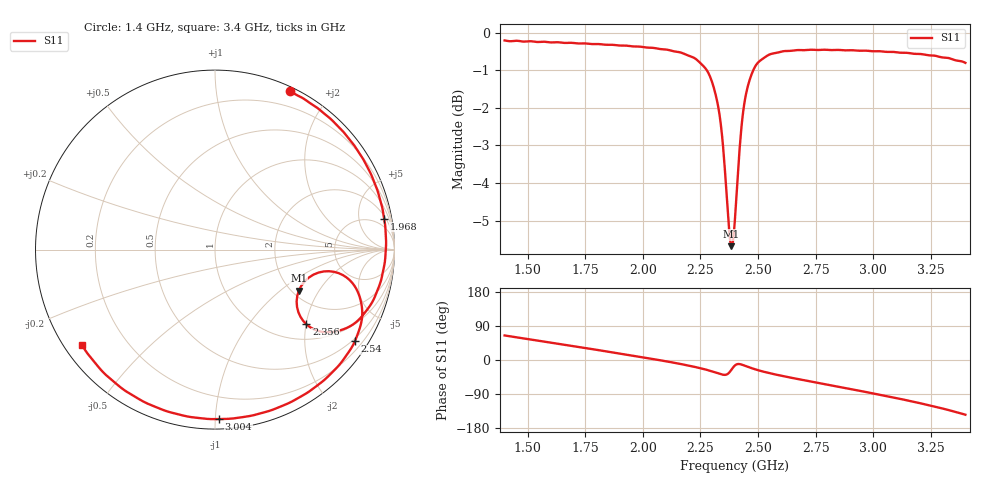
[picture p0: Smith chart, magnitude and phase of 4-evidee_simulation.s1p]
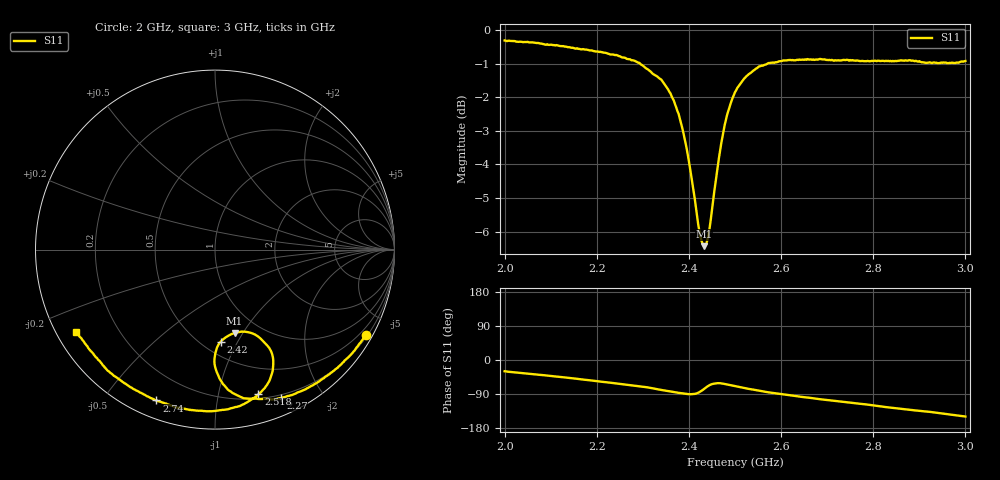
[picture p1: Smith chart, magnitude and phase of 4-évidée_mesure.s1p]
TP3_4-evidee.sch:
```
<Qucs Schematic 0.0.19>
<Properties>
  <View=0,0,1569,800,1,20,0>
  <Grid=10,10,1>
  <DataSet=TP3_4-evidee.dat>
  <DataDisplay=TP3_4-evidee.dpl>
  <OpenDisplay=1>
  <Script=TP3_4-evidee.m>
  <RunScript=0>
  <showFrame=0>
  <FrameText0=Titre>
  <FrameText1=Auteur :>
  <FrameText2=Date :>
  <FrameText3=Version :>
</Properties>
<Symbol>
</Symbol>
<Components>
  <GND * 1 1260 420 0 0 0 0>
  <GND * 1 1190 420 0 0 0 0>
  <Pac P1 1 1190 390 -94 -26 1 1 "2" 1 "50 Ohm" 1 "0 dBm" 0 "1 GHz" 0 "26.85" 0>
  <.SP SP1 1 250 270 0 77 0 0 "lin" 1 "2 GHz" 1 "3 GHz" 1 "400" 1 "no" 0 "1" 0 "2" 0 "no" 0 "no" 0>
  <Eqn Eqn1 1 490 310 -31 19 0 0 "S11_Simulation=S[1,1]" 1 "S11_Mesure=S[2,2]" 1 "dB_S11_Simulation=dB(S11_Simulation)" 1 "dB_S11_Mesure=dB(S11_Mesure)" 1 "yes" 0>
  <GND * 1 980 420 0 0 0 0>
  <GND * 1 910 420 0 0 0 0>
  <Pac P2 1 910 390 -94 -26 1 1 "1" 1 "50 Ohm" 1 "0 dBm" 0 "1 GHz" 0 "26.85" 0>
  <SPfile X1 1 980 360 -26 -67 0 0 "4-evidee_simulation.s1p" 1 "rectangular" 0 "linear" 0 "open" 0 "1" 0>
  <SPfile X2 1 1260 360 -26 -67 0 0 "4-évidée_mesure.s1p" 1 "rectangular" 0 "linear" 0 "open" 0 "1" 0>
</Components>
<Wires>
  <1260 390 1260 420 "" 0 0 0 "">
  <1190 360 1230 360 "" 0 0 0 "">
  <980 390 980 420 "" 0 0 0 "">
  <910 360 950 360 "" 0 0 0 "">
</Wires>
<Diagrams>
</Diagrams>
<Paintings>
</Paintings>
```
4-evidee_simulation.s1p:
#  Hz  S  RI  R  50
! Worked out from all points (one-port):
!   501 points, 1.4 GHz to 3.4 GHz, reference 50 ohm
!   lowest |S11| = -5.7 dB at 2.384 GHz (marker M1), VSWR 3.17, Z = 108 - j68.1 ohm
!   |S11| at or under -10 dB: nowhere
!   S11 on the Smith chart (normalised r, x): 1.4 GHz: 0.04, +1.58; 1.968 GHz: 2, +10; 2.356 GHz: 1.37, -2.01; 2.54 GHz: 0.43, -3.30; 3.004 GHz: 0.06, -1.02; 3.4 GHz: 0.05, -0.32
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1.4e9  0.4162 0.883
1.7e9  0.7806 0.5735
1.968e9  0.9427 0.1723
2.068e9  0.9516 0.00104
2.26e9  0.8315 -0.3558
2.356e9  0.5094 -0.4163
2.384e9  0.4669 -0.2293
2.412e9  0.6348 -0.1204
2.448e9  0.7952 -0.2348
2.54e9  0.7794 -0.5105
2.736e9  0.5075 -0.8017
3.004e9  0.0215 -0.9442
3.208e9  -0.3909 -0.8509
3.4e9  -0.7411 -0.5306
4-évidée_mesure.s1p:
! ZVRE, 3.52
! symbol freq-unit parameter-type data-format keyword impedance-ohm
#  HZ  S  RI  R  50
! freq  reS11  imS11
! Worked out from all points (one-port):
!   401 points, 2 GHz to 3 GHz, reference 50 ohm
!   lowest |S11| = -6.4 dB at 2.433 GHz (marker M1), VSWR 2.82, Z = 38.3 - j46 ohm
!   |S11| at or under -10 dB: nowhere
!   S11 on the Smith chart (normalised r, x): 2 GHz: 0.28, -3.77; 2.27 GHz: 0.17, -1.52; 2.42 GHz: 0.61, -0.85; 2.518 GHz: 0.24, -1.32; 2.74 GHz: 0.08, -0.68; 3 GHz: 0.06, -0.27
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2e9  0.8386 -0.4761
2.13e9  0.6585 -0.6771
2.27e9  0.3653 -0.827
2.335e9  0.1773 -0.8293
2.3775e9  0.0442 -0.7493
2.42e9  0.0308 -0.5137
2.4325e9  0.1091 -0.4643
2.4475e9  0.2228 -0.4731
2.47e9  0.3216 -0.5958
2.5175e9  0.2414 -0.8065
2.575e9  0.0659 -0.8902
2.6675e9  -0.165 -0.8872
2.74e9  -0.3267 -0.8405
3e9  -0.7721 -0.4605
